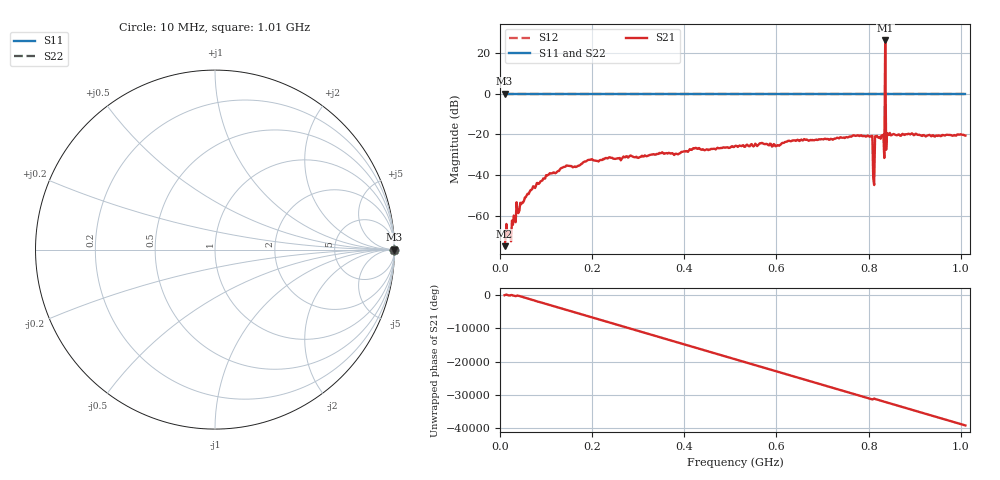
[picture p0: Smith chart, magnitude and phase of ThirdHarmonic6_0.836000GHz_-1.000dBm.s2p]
! 8/16/2025 3:44:20 AM
! C:\ANRITSUVNA\TEMP\TEMP.S2P
! CHANNEL.1
! TR.MEASUREMENT
! RAW.DATA
! RF.CORRECTION.OFF
! AVERAGING.OFF
! IF.BANDWIDTH: 5KHZ
! SWEEPTYPE:  FREQ.SWEEP(Linear)
! Reference Plane Port Info
! PORT:  PORT1  PORT2
! DISTANCE:  0  m  0  m
! TIME:  0  s  0  s
! PHASE.OFFSET:  0  deg.  0  deg.
! LOSS:  0  dB  0  dB
! REF.LOSS:  0  dB  0  dB
! REF.FREQ:  0  Hz  0  Hz
! Power Info
! POWER:  -20  dBm  -20  dBm
! EFF.POWER:  -20  dBm  -20  dBm
! SOURCE.ATTEN:  0  dB  0  dB
! TEST.ATTEN:  0  dB  0  dB
# GHZ S RI R 50.0
! FREQ.GHZ  S11RE  S11IM  S21RE  S21IM  S12RE  S12IM  S22RE  S22IM
!; PortSelection: Port_12
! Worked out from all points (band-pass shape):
!   501 points, 10 MHz to 1.01 GHz, reference 50 ohm
!   highest |S21| = 26.14 dB at 836 MHz (marker M1); lowest = -75.1 dB at 10 MHz (marker M2)
!   |S21| within 3 dB of the highest: 835.8963 MHz to 836.1116 MHz (215.3 kHz wide, 0.0258 % of centre)
!   lowest |S11| = 0.0 dB at 10 MHz (marker M3)
!   |S11| at or under -10 dB: nowhere
!   |S22| runs from 0.0 to 0.0 dB; largest |S21 - S12| = 20
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0.01  1 0  -0.000155 -8.4e-05  1 0  1 0
0.024  1 0  -7.93e-05 -0.000218  1 0  1 0
0.04  1 0  0.000853 0.000772  1 0  1 0
0.07  1 0  -0.00191 -0.00411  1 0  1 0
0.104  1 0  0.00545 -0.00834  1 0  1 0
0.178  1 0  -0.0188 -0.00214  1 0  1 0
0.344  1 0  0.0297 -0.014  1 0  1 0
0.51  1 0  -0.0389 0.0334  1 0  1 0
0.678  1 0  -0.0633 -0.0358  1 0  1 0
0.804  1 0  -0.0831 0.0286  1 0  1 0
0.808  1 0  0.0911 -0.00356  1 0  1 0
0.812  1 0  -0.00144 -0.00544  1 0  1 0
0.814  1 0  -0.0468 0.0758  1 0  1 0
0.818  1 0  0.0646 -0.0645  1 0  1 0
0.828  1 0  0.0124 -0.093  1 0  1 0
0.83  1 0  -0.0901 -0.0254  1 0  1 0
0.832  1 0  -0.0415 0.0879  1 0  1 0
0.836  1 0  2.918 -20.07  1 0  1 0
0.84  1 0  -0.0916 0.0552  1 0  1 0
0.842  1 0  0.0454 0.0911  1 0  1 0
0.844  1 0  0.092 -0.027  1 0  1 0
1.01  1 0  -0.0521 0.0766  1 0  1 0
